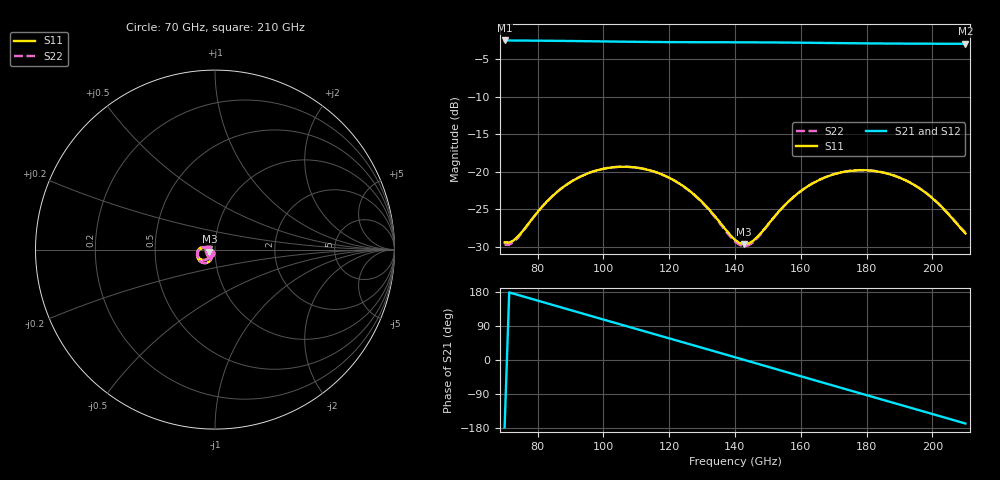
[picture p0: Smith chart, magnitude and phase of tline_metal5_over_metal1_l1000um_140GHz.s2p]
#  GHZ S DB R 50
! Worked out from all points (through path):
!   101 points, 70 GHz to 210 GHz, reference 50 ohm
!   highest |S21| = -2.53 dB at 70 GHz (marker M1); lowest = -3.0 dB at 210 GHz (marker M2)
!   group delay of S21, straight-line fit = 6.93 ps
!   lowest |S11| = -29.6 dB at 142.8 GHz (marker M3), VSWR 1.07, Z = 47 - j1.09 ohm
!   |S11| at or under -10 dB: start of sweep to end of sweep
!   |S22| runs from -29.9 to -19.3 dB; largest |S21 - S12| = 1.3e-15
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70  -29.39 -145.0  -2.53 -178.1  -2.53 -178.1  -29.70 -143.8
74.2  -28.54 -123.7  -2.54 171.4  -2.54 171.4  -28.69 -121.8
81.2  -24.74 -112.5  -2.57 153.9  -2.57 153.9  -24.75 -111.2
86.8  -22.37 -116.8  -2.59 139.8  -2.59 139.8  -22.36 -115.9
93.8  -20.48 -127.7  -2.63 122.3  -2.63 122.3  -20.47 -127.1
99.4  -19.66 -138.1  -2.66 108.3  -2.66 108.3  -19.65 -137.7
105  -19.33 -149.0  -2.69 94.4  -2.69 94.4  -19.33 -148.7
110.6  -19.47 -159.9  -2.72 80.5  -2.72 80.5  -19.48 -159.7
117.6  -20.31 -172.7  -2.74 63.1  -2.74 63.1  -20.33 -172.6
128.8  -23.50 172.4  -2.77 35.3  -2.77 35.3  -23.57 172.2
140  -29.04 -173.3  -2.78 7.3  -2.78 7.3  -29.27 -173.1
142.8  -29.64 -159.4  -2.78 0.3  -2.78 0.3  -29.89 -158.6
145.6  -29.14 -145.3  -2.79 -6.7  -2.79 -6.7  -29.33 -144.0
152.6  -25.64 -129.2  -2.80 -24.3  -2.80 -24.3  -25.68 -127.8
163.8  -21.48 -137.1  -2.85 -52.4  -2.85 -52.4  -21.48 -136.2
170.8  -20.23 -148.1  -2.88 -69.9  -2.88 -69.9  -20.22 -147.3
176.4  -19.82 -157.9  -2.91 -83.9  -2.91 -83.9  -19.80 -157.1
182  -19.87 -167.7  -2.93 -97.8  -2.93 -97.8  -19.86 -166.9
187.6  -20.40 -177.1  -2.94 -111.7  -2.94 -111.7  -20.38 -176.4
193.2  -21.44 174.4  -2.96 -125.7  -2.96 -125.7  -21.41 175.2
200.2  -23.60 167.2  -2.97 -143.1  -2.97 -143.1  -23.56 168.0
210  -28.18 176.1  -2.98 -167.6  -2.98 -167.6  -28.07 177.0
